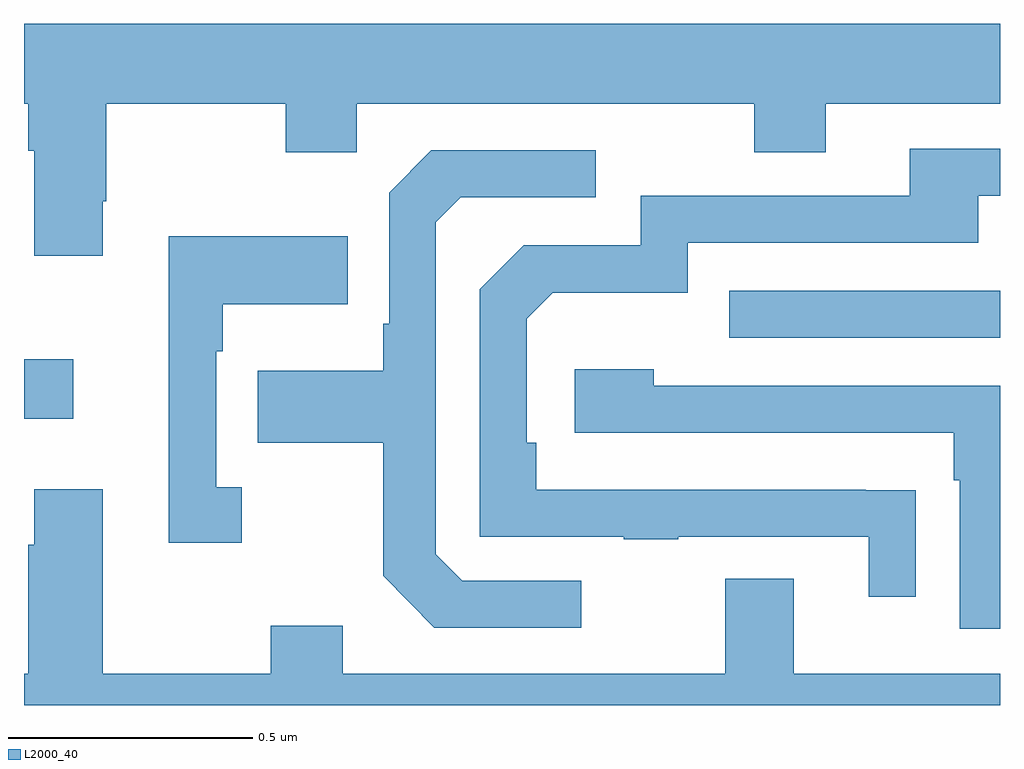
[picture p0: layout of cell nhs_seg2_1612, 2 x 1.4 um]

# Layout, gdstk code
import gdstk
lib = gdstk.Library(unit=1e-6, precision=1e-09)
def R(c, l, rs):  # rectangles x0, y0, x1, y1
    for r in rs: c.add(gdstk.rectangle(r[:2], r[2:], *l))
def P(c, l, *ps):  # polygons
    for p in ps: c.add(gdstk.Polygon(p, *l))
L2000_40 = (2000, 40)

nhs_seg2_1612 = lib.new_cell('nhs_seg2_1612')
R(nhs_seg2_1612, L2000_40, [(131,584.387,131.101,584.509), (132.445,584.553,133,584.649)])
P(nhs_seg2_1612, L2000_40, [(131.161,584.833),(131.169,584.833),(131.169,585.032),(131.536,585.032),(131.536,584.933),(131.682,584.933),(131.682,585.032),(132.496,585.032),(132.496,584.933),(132.643,584.933),(132.643,585.032),(133,585.032),(133,585.196),(131,585.196),(131,585.032),(131.009,585.032),(131.009,584.936),(131.021,584.936),(131.021,584.721),(131.161,584.721)],
  [(132.827,584.24),(132.725,584.24),(132.725,584.241),(132.05,584.241),(132.05,584.338),(132.03,584.338),(132.03,584.592),(132.083,584.645),(132.36,584.645),(132.36,584.748),(132.955,584.748),(132.955,584.844),(133,584.844),(133,584.94),(132.815,584.94),(132.815,584.844),(132.264,584.844),(132.264,584.742),(132.024,584.742),(131.934,584.652),(131.934,584.145),(132.229,584.145),(132.229,584.14),(132.341,584.14),(132.341,584.145),(132.731,584.145),(132.731,584.022),(132.827,584.022)],
  [(132.142,584.055),(131.898,584.055),(131.844,584.109),(131.844,584.79),(131.895,584.841),(132.172,584.841),(132.172,584.937),(131.835,584.937),(131.748,584.85),(131.748,584.581),(131.736,584.581),(131.736,584.485),(131.479,584.485),(131.479,584.338),(131.736,584.338),(131.736,584.065),(131.841,583.959),(132.142,583.959)],
  [(131.446,584.246),(131.394,584.246),(131.394,584.525),(131.407,584.525),(131.407,584.621),(131.663,584.621),(131.663,584.761),(131.297,584.761),(131.297,584.133),(131.446,584.133)],
  [(133,584.454),(132.29,584.454),(132.29,584.488),(132.129,584.488),(132.129,584.358),(132.905,584.358),(132.905,584.261),(132.918,584.261),(132.918,583.956),(133,583.956)],
  [(133,583.864),(132.577,583.864),(132.577,584.059),(132.437,584.059),(132.437,583.864),(131.653,583.864),(131.653,583.963),(131.506,583.963),(131.506,583.864),(131.161,583.864),(131.161,584.242),(131.021,584.242),(131.021,584.129),(131.009,584.129),(131.009,583.864),(131,583.864),(131,583.8),(133,583.8)])

lib.write_gds('nhs_seg2_1612.gds')
